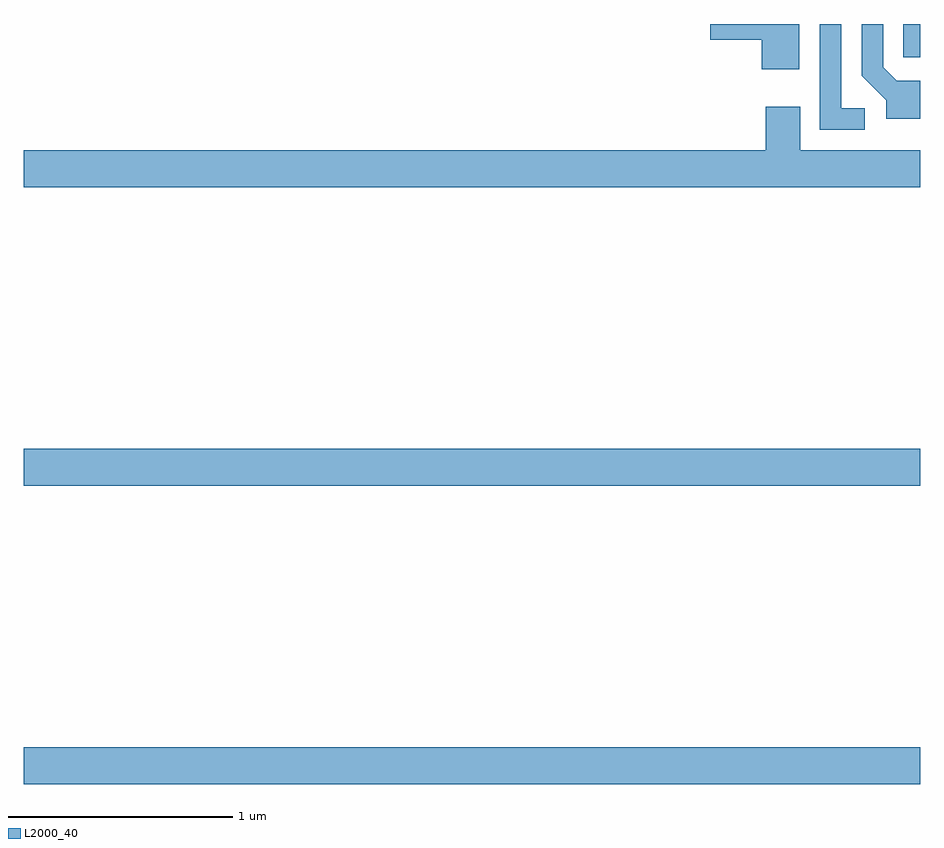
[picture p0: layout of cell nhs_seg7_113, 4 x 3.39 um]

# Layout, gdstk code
import gdstk
lib = gdstk.Library(unit=1e-6, precision=1e-09)
def R(c, l, rs):  # rectangles x0, y0, x1, y1
    for r in rs: c.add(gdstk.rectangle(r[:2], r[2:], *l))
def P(c, l, *ps):  # polygons
    for p in ps: c.add(gdstk.Polygon(p, *l))
L2000_40 = (2000, 40)

nhs_seg7_113 = lib.new_cell('nhs_seg7_113')
R(nhs_seg7_113, L2000_40, [(119,1008.608,123,1008.772), (119,1009.94,123,1010.104), (122.925,1011.852,123,1012)])
P(nhs_seg7_113, L2000_40, [(123,1011.747),(122.895,1011.747),(122.835,1011.807),(122.835,1012),(122.739,1012),(122.739,1011.77),(122.849,1011.66),(122.849,1011.578),(123,1011.578)],
  [(122.461,1012),(122.064,1012),(122.064,1011.929),(122.294,1011.929),(122.294,1011.798),(122.461,1011.798)],
  [(122.752,1011.624),(122.649,1011.624),(122.649,1012),(122.553,1012),(122.553,1011.528),(122.752,1011.528)],
  [(123,1011.436),(122.464,1011.436),(122.464,1011.631),(122.312,1011.631),(122.312,1011.436),(119,1011.436),(119,1011.272),(123,1011.272)])

lib.write_gds('nhs_seg7_113.gds')
